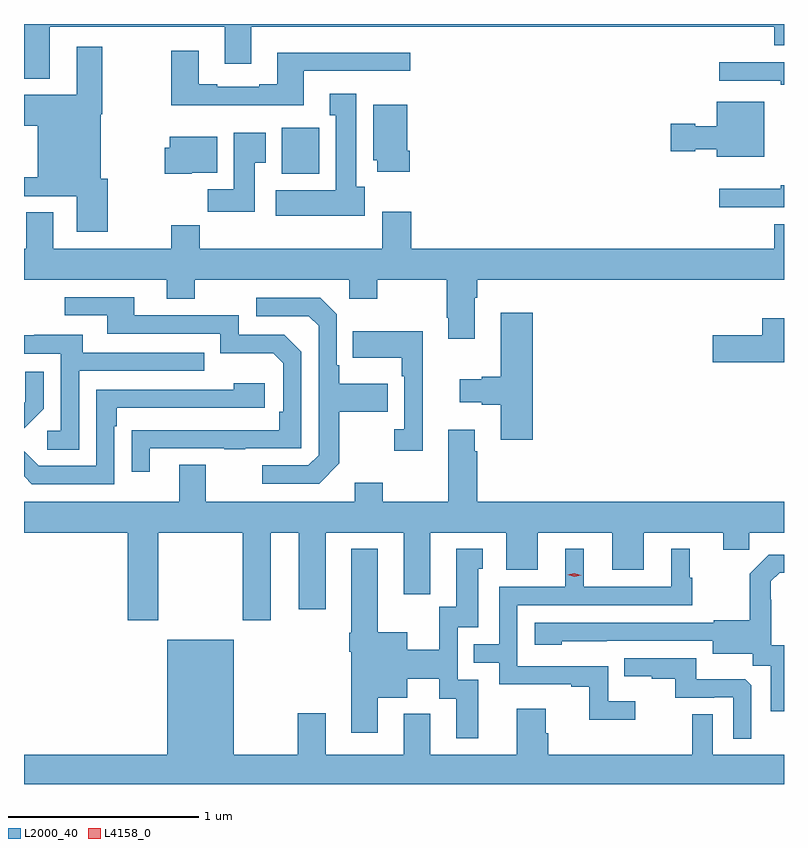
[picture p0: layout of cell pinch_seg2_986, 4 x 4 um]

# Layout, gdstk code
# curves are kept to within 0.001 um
import gdstk
lib = gdstk.Library(unit=1e-6, precision=1e-09)
def R(c, l, rs):  # rectangles x0, y0, x1, y1
    for r in rs: c.add(gdstk.rectangle(r[:2], r[2:], *l))
def P(c, l, *ps):  # polygons
    for p in ps: c.add(gdstk.Polygon(p, *l))
L2000_40 = (2000, 40)
L4158_0 = (4158, 0)

pinch_seg2_986 = lib.new_cell('pinch_seg2_986')
R(pinch_seg2_986, L2000_40, [(157.739,588.254,157.936,588.496)])
P(pinch_seg2_986, L2000_40, [(156.517,589.028),(157.439,589.028),(157.439,588.834),(157.579,588.834),(157.579,589.028),(160.331,589.028),(160.331,588.93),(160.382,588.93),(160.382,589.042),(156.382,589.042),(156.382,588.755),(156.517,588.755)],
  [(156.824,588.228),(156.787,588.228),(156.787,588.566),(156.795,588.566),(156.795,588.922),(156.659,588.922),(156.659,588.67),(156.382,588.67),(156.382,588.506),(156.455,588.506),(156.455,588.236),(156.382,588.236),(156.382,588.135),(156.659,588.135),(156.659,587.949),(156.824,587.949)],
  [(157.855,588.795),(158.416,588.795),(158.416,588.892),(157.715,588.892),(157.715,588.724),(157.619,588.724),(157.619,588.711),(157.399,588.711),(157.399,588.724),(157.303,588.724),(157.303,588.901),(157.156,588.901),(157.156,588.614),(157.855,588.614)],
  [(160.382,588.842),(160.041,588.842),(160.041,588.744),(160.364,588.744),(160.364,588.722),(160.382,588.722)],
  [(158.176,588.186),(158.131,588.186),(158.131,588.676),(157.991,588.676),(157.991,588.563),(158.024,588.563),(158.024,588.166),(157.707,588.166),(157.707,588.032),(158.176,588.032)],
  [(160.279,588.634),(160.028,588.634),(160.028,588.505),(159.915,588.505),(159.915,588.518),(159.786,588.518),(159.786,588.371),(159.915,588.371),(159.915,588.383),(160.028,588.383),(160.028,588.344),(160.279,588.344)],
  [(158.411,588.376),(158.398,588.376),(158.398,588.616),(158.219,588.616),(158.219,588.324),(158.24,588.324),(158.24,588.264),(158.411,588.264)],
  [(157.597,588.313),(157.654,588.313),(157.654,588.469),(157.487,588.469),(157.487,588.172),(157.348,588.172),(157.348,588.054),(157.597,588.054)],
  [(157.266,588.26),(157.399,588.26),(157.399,588.448),(157.148,588.448),(157.148,588.39),(157.123,588.39),(157.123,588.254),(157.266,588.254)],
  [(160.382,588.194),(160.364,588.194),(160.364,588.175),(160.041,588.175),(160.041,588.078),(160.382,588.078)],
  [(158.755,587.6),(158.768,587.6),(158.768,587.696),(160.382,587.696),(160.382,587.989),(160.331,587.989),(160.331,587.86),(158.42,587.86),(158.42,588.055),(158.267,588.055),(158.267,587.86),(157.307,587.86),(157.307,587.984),(157.156,587.984),(157.156,587.86),(156.535,587.86),(156.535,588.05),(156.395,588.05),(156.395,587.86),(156.382,587.86),(156.382,587.696),(157.133,587.696),(157.133,587.597),(157.281,587.597),(157.281,587.696),(158.094,587.696),(158.094,587.597),(158.241,587.597),(158.241,587.696),(158.608,587.696),(158.608,587.497),(158.615,587.497),(158.615,587.385),(158.755,587.385)],
  [(157.045,586.809),(157.435,586.809),(157.435,586.804),(157.547,586.804),(157.547,586.809),(157.842,586.809),(157.842,587.316),(157.752,587.406),(157.512,587.406),(157.512,587.508),(156.961,587.508),(156.961,587.604),(156.597,587.604),(156.597,587.508),(156.821,587.508),(156.821,587.412),(157.416,587.412),(157.416,587.309),(157.693,587.309),(157.746,587.256),(157.746,587.002),(157.726,587.002),(157.726,586.905),(156.949,586.904),(156.949,586.686),(157.045,586.686)],
  [(158.041,586.729),(158.041,587.002),(158.297,587.002),(158.297,587.149),(158.041,587.149),(158.041,587.245),(158.028,587.245),(158.028,587.514),(157.941,587.601),(157.605,587.601),(157.605,587.505),(157.881,587.505),(157.932,587.454),(157.932,586.773),(157.878,586.719),(157.635,586.719),(157.635,586.623),(157.935,586.623)],
  [(159.059,587.521),(158.891,587.521),(158.891,587.186),(158.792,587.186),(158.792,587.173),(158.676,587.173),(158.676,587.051),(158.792,587.051),(158.792,587.039),(158.891,587.039),(158.891,586.854),(159.059,586.854)],
  [(160.382,587.494),(160.268,587.494),(160.268,587.403),(160.008,587.403),(160.008,587.261),(160.382,587.261)],
  [(158.48,587.425),(158.113,587.425),(158.113,587.285),(158.37,587.285),(158.37,587.189),(158.382,587.189),(158.382,586.91),(158.331,586.91),(158.331,586.797),(158.48,586.797)],
  [(156.672,587.217),(157.331,587.217),(157.331,587.313),(156.691,587.313),(156.691,587.407),(156.437,587.407),(156.437,587.403),(156.382,587.403),(156.382,587.307),(156.576,587.307),(156.576,586.902),(156.504,586.902),(156.504,586.801),(156.672,586.801)],
  [(156.486,587.018),(156.486,587.212),(156.389,587.212),(156.389,587.055),(156.382,587.048),(156.382,586.914)],
  [(156.858,586.925),(156.871,586.925),(156.871,587.022),(157.648,587.022),(157.648,587.152),(157.487,587.152),(157.487,587.118),(156.762,587.118),(156.762,586.716),(156.459,586.716),(156.382,586.793),(156.382,586.661),(156.423,586.62),(156.858,586.62)],
  [(157.089,586.364),(157.534,586.364),(157.534,585.903),(157.681,585.903),(157.681,586.364),(157.829,586.364),(157.829,585.963),(157.969,585.963),(157.969,586.364),(158.381,586.364),(158.381,586.041),(158.521,586.041),(158.521,586.364),(158.921,586.364),(158.921,586.17),(159.085,586.17),(159.085,586.364),(159.479,586.364),(159.479,586.17),(159.643,586.17),(159.643,586.364),(160.061,586.364),(160.061,586.274),(160.199,586.274),(160.199,586.364),(160.382,586.364),(160.382,586.528),(158.768,586.528),(158.768,586.793),(158.755,586.793),(158.755,586.906),(158.615,586.906),(158.615,586.528),(158.271,586.528),(158.271,586.627),(158.123,586.627),(158.123,586.528),(157.339,586.528),(157.339,586.723),(157.199,586.723),(157.199,586.528),(156.382,586.528),(156.382,586.364),(156.929,586.364),(156.929,585.903),(157.089,585.903)],
  [(159.598,585.478),(159.456,585.478),(159.456,585.663),(158.979,585.663),(158.979,585.984),(159.898,585.984),(159.898,586.128),(159.886,586.128),(159.886,586.279),(159.788,586.279),(159.788,586.08),(159.328,586.08),(159.328,586.279),(159.23,586.279),(159.23,586.08),(158.883,586.08),(158.883,585.777),(158.749,585.777),(158.749,585.681),(158.883,585.681),(158.883,585.567),(159.263,585.567),(159.263,585.555),(159.358,585.555),(159.358,585.38),(159.598,585.38)],
  [(158.773,585.591),(158.664,585.591),(158.664,585.867),(158.773,585.867),(158.773,586.176),(158.797,586.176),(158.797,586.279),(158.657,586.279),(158.657,585.975),(158.568,585.975),(158.568,585.748),(158.398,585.748),(158.398,585.841),(158.245,585.841),(158.245,586.279),(158.105,586.279),(158.105,585.837),(158.093,585.837),(158.093,585.737),(158.105,585.737),(158.105,585.312),(158.245,585.312),(158.245,585.497),(158.398,585.497),(158.398,585.596),(158.567,585.596),(158.567,585.49),(158.657,585.49),(158.657,585.282),(158.773,585.282)],
  [(160.382,585.772),(160.314,585.772),(160.314,586.013),(160.312,586.013),(160.312,586.108),(160.359,586.155),(160.382,586.155),(160.382,586.249),(160.303,586.249),(160.203,586.149),(160.203,585.904),(160.011,585.904),(160.011,585.891),(159.069,585.891),(159.069,585.776),(159.213,585.776),(159.213,585.794),(160.007,585.795),(160.007,585.728),(160.218,585.728),(160.218,585.664),(160.313,585.664),(160.313,585.426),(160.382,585.426)],
  [(160.382,585.196),(160.008,585.196),(160.008,585.41),(159.9,585.41),(159.9,585.196),(159.14,585.196),(159.14,585.309),(159.127,585.309),(159.127,585.439),(158.975,585.439),(158.975,585.196),(158.521,585.196),(158.521,585.412),(158.381,585.412),(158.381,585.196),(157.969,585.196),(157.969,585.415),(157.822,585.415),(157.822,585.196),(157.486,585.196),(157.486,585.802),(157.136,585.802),(157.136,585.196),(156.382,585.196),(156.382,585.042),(160.382,585.042)],
  [(160.209,585.561),(160.177,585.593),(159.919,585.593),(159.919,585.705),(159.541,585.705),(159.541,585.608),(159.685,585.608),(159.685,585.597),(159.809,585.597),(159.809,585.495),(160.016,585.495),(160.016,585.498),(160.116,585.498),(160.116,585.281),(160.209,585.281)])
P(pinch_seg2_986, L4158_0, [(159.279,586.132),(159.244,586.143),(159.243,586.143),(159.244,586.144),(159.279,586.152),(159.315,586.141),(159.315,586.141),(159.315,586.141)])

lib.write_gds('pinch_seg2_986.gds')
